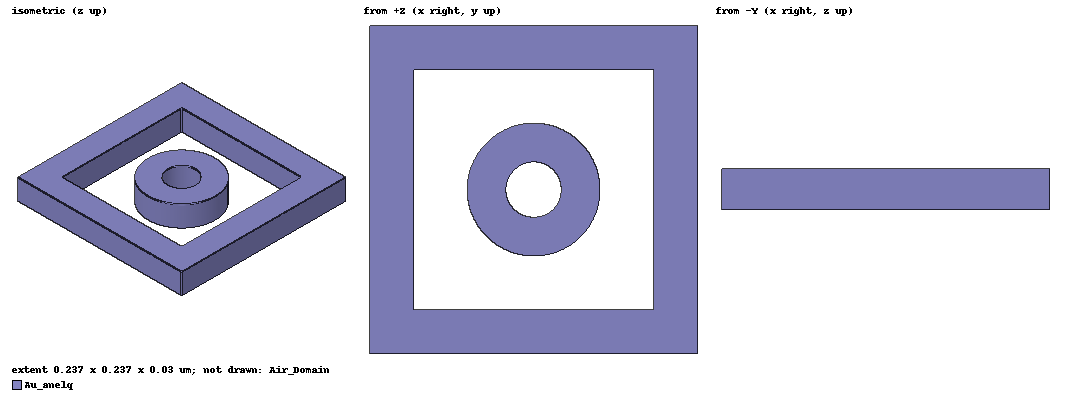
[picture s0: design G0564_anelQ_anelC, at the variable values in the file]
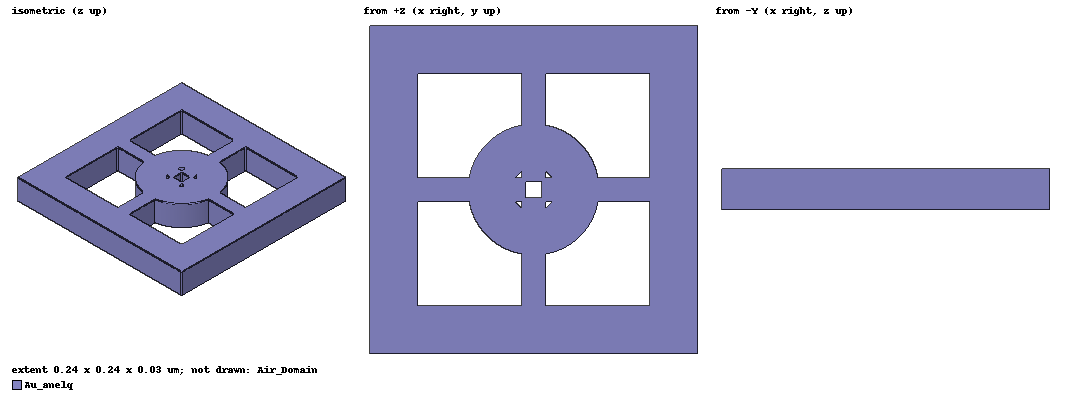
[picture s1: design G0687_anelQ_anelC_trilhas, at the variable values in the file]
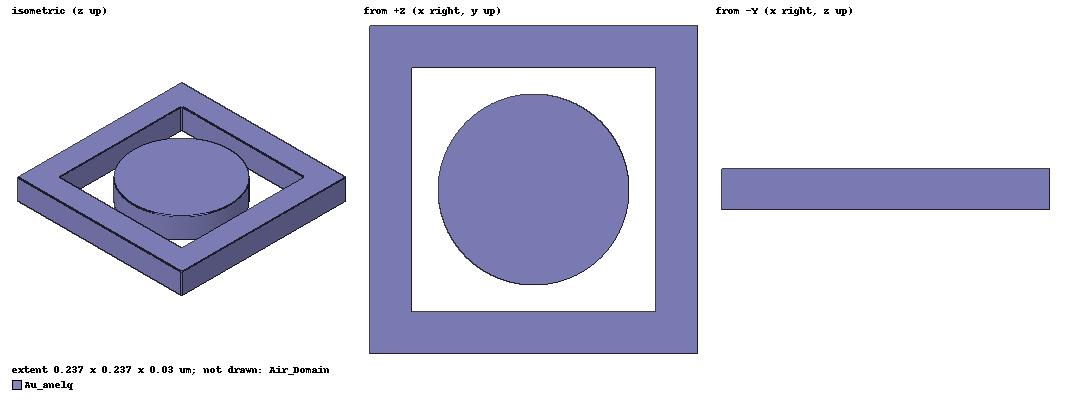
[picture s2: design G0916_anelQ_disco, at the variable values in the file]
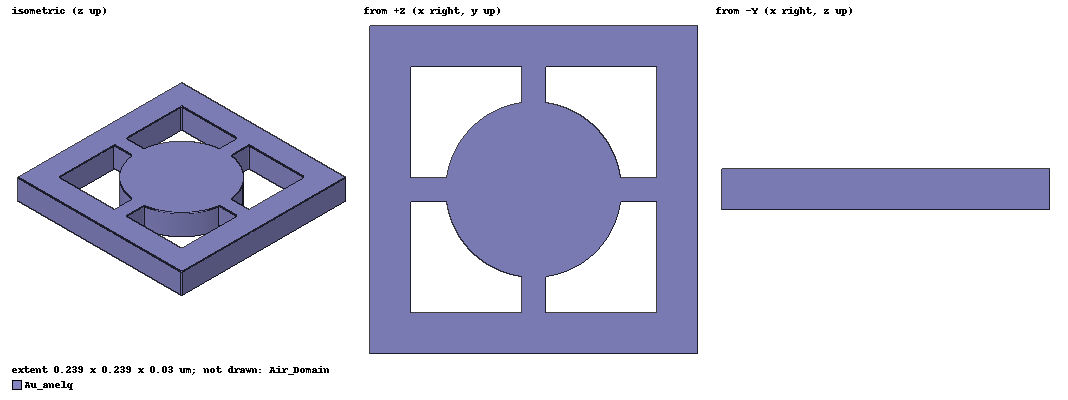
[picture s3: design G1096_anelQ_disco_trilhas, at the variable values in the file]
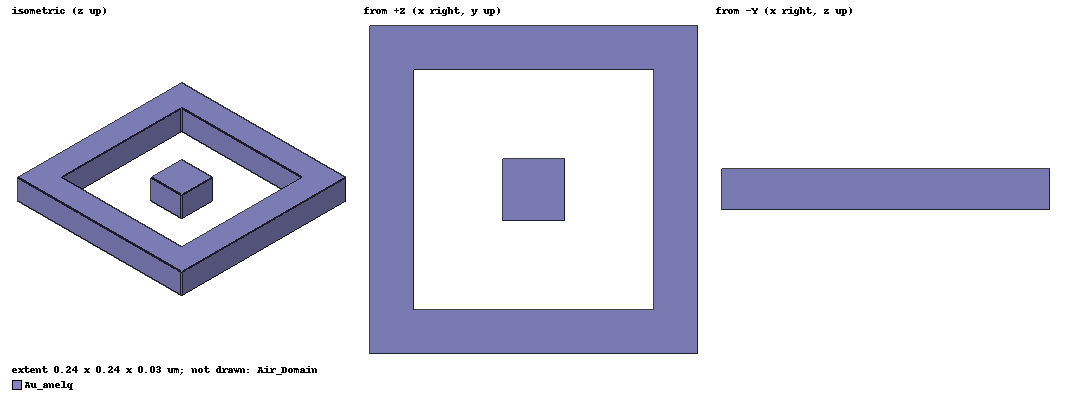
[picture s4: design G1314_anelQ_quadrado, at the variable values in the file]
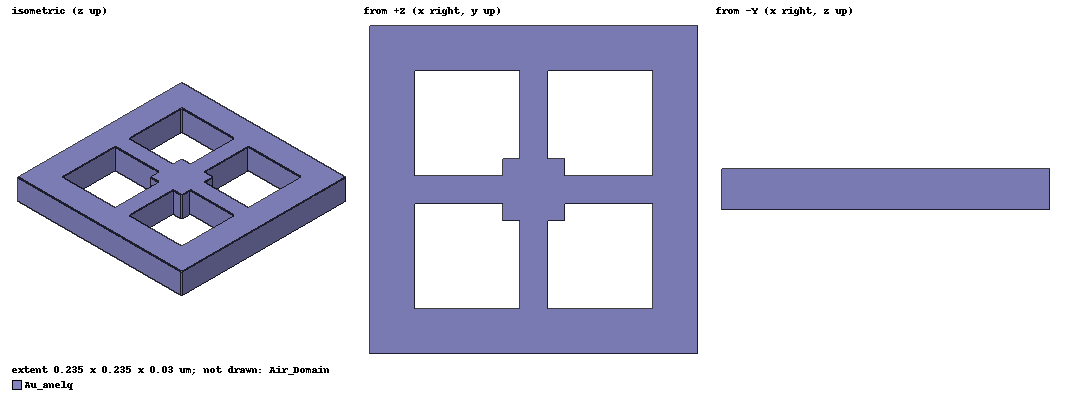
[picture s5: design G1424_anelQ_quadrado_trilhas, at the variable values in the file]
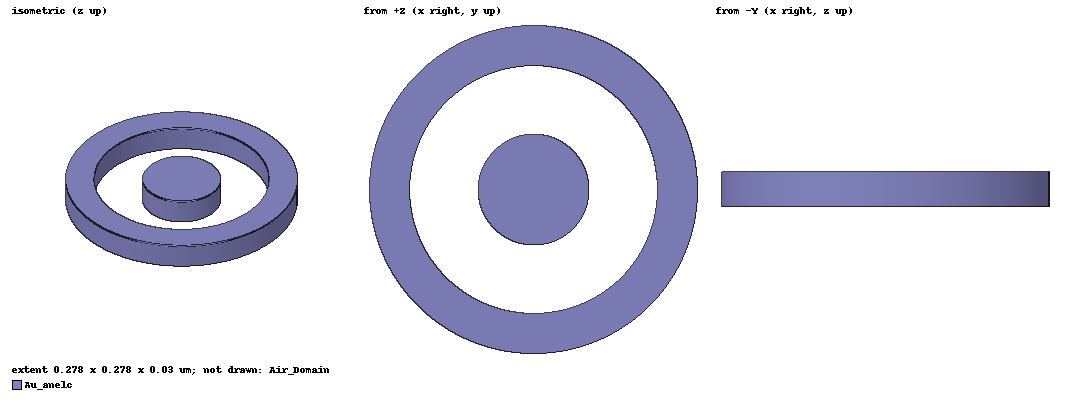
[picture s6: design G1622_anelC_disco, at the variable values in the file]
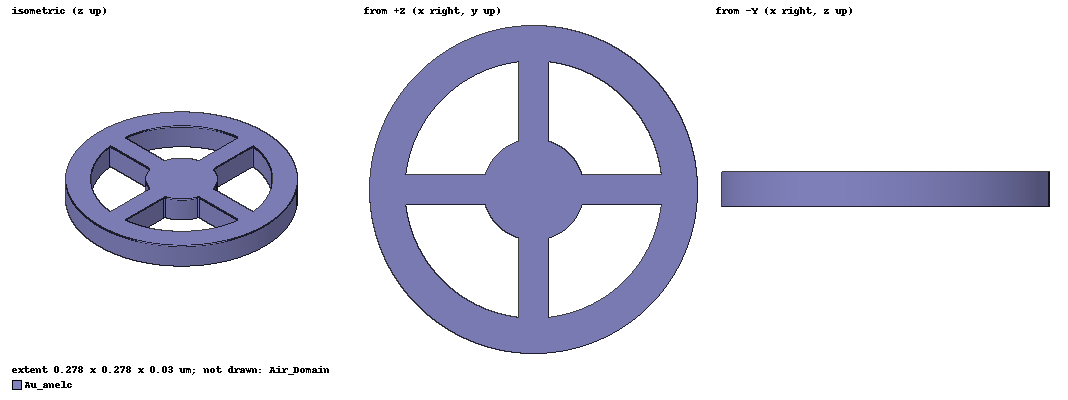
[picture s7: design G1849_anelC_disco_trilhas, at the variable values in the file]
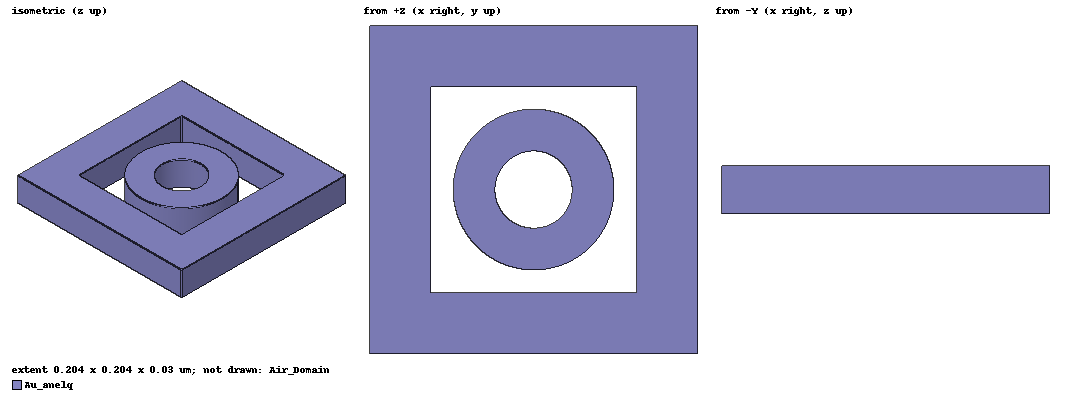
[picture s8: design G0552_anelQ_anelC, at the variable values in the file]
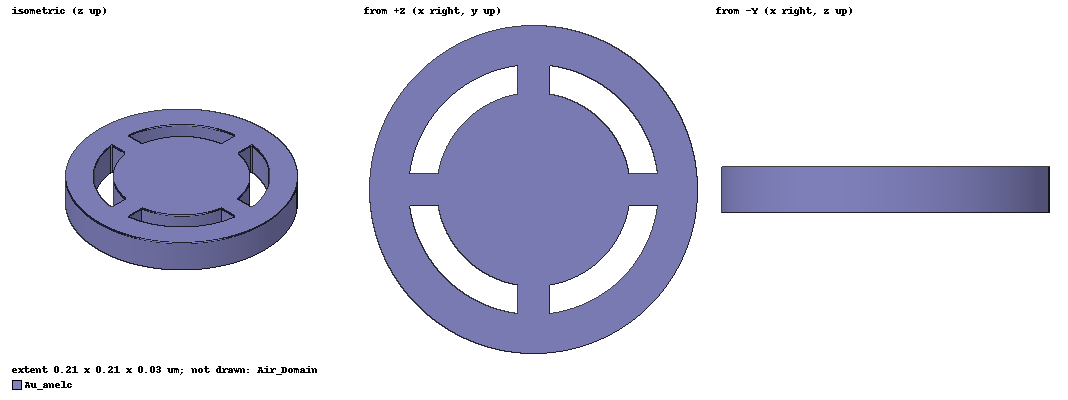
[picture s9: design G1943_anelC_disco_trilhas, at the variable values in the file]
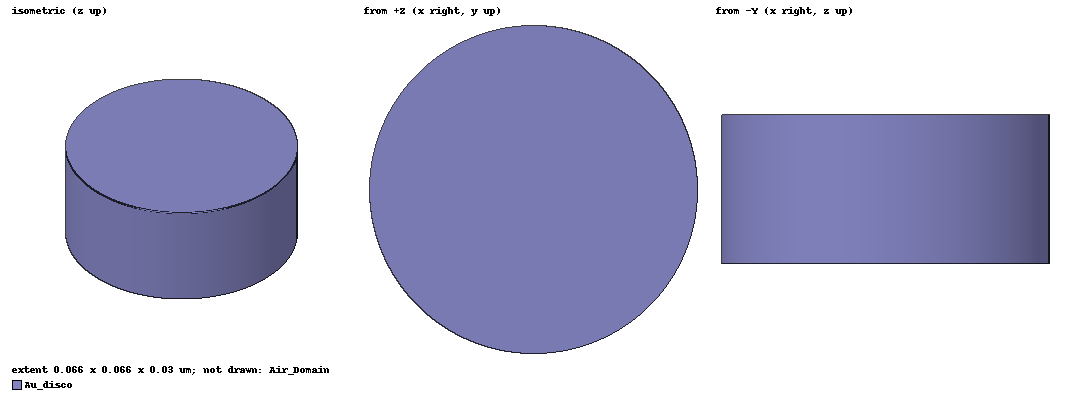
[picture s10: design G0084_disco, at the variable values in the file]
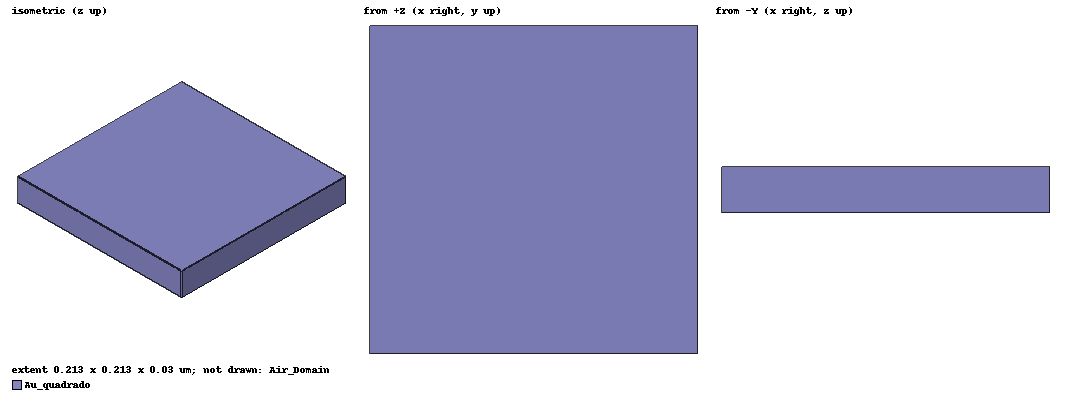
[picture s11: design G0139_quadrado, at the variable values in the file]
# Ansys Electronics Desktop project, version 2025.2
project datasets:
  $eps_Au: (150000000000000, -186.00089) (160000000000000, -163.14213) (170000000000000, -144.11224) (180000000000000, -128.10314) (190000000000000, -114.50826) (200000000000000, -102.86532) (210000000000000, -92.81718) (220000000000000, -84.084412) (230000000000000, -76.445944) (240000000000000, -69.725036) (250000000000000, -63.779041) (260000000000000, -58.491818) (270000000000000, -53.768037) (280000000000000, -49.528859) (290000000000000, -45.70863) (300000000000000, -42.252313) (310000000000000, -39.113494) (320000000000000, -36.252806) (330000000000000, -33.636677) (340000000000000, -31.236338) (350000000000000, -29.027017) (360000000000000, -26.987294) (370000000000000, -25.098569) (380000000000000, -23.344637) (390000000000000, -21.711335) (400000000000000, -20.186253) (410000000000000, -18.7585) (420000000000000, -17.418507) (430000000000000, -16.15788) (440000000000000, -14.969269) (450000000000000, -13.846276) (460000000000000, -12.78338) (470000000000000, -11.775891) (480000000000000, -10.819917) (490000000000000, -9.9123481) (500000000000000, -9.0508547) (510000000000000, -8.2338938) (520000000000000, -7.4607121) (530000000000000, -6.7313416) (540000000000000, -6.0465702) (550000000000000, -5.4078747) (560000000000000, -4.8172964) (570000000000000, -4.2772451) (580000000000000, -3.7902218) (590000000000000, -3.3584655) (600000000000000, -2.9835452) (610000000000000, -2.6659436) (620000000000000, -2.4046951) (630000000000000, -2.197152) (640000000000000, -2.0389375) (650000000000000, -1.9241177) (660000000000000, -1.8455774) (670000000000000, -1.7955412) (680000000000000, -1.7661513) (690000000000000, -1.7500089) (700000000000000, -1.7406041)
  $sig_Au: (150000000000000, 218667.41) (160000000000000, 192168.71) (170000000000000, 170065.67) (180000000000000, 151429.97) (190000000000000, 135565.31) (200000000000000, 121941.52) (210000000000000, 110149.55) (220000000000000, 99870.051) (230000000000000, 90851.031) (240000000000000, 82891.837) (250000000000000, 75831.402) (260000000000000, 69539.575) (270000000000000, 63910.635) (280000000000000, 58858.395) (290000000000000, 54312.48) (300000000000000, 50215.478) (310000000000000, 46520.747) (320000000000000, 43190.739) (330000000000000, 40195.708) (340000000000000, 37512.733) (350000000000000, 35124.989) (360000000000000, 33021.22) (370000000000000, 31195.388) (380000000000000, 29646.453) (390000000000000, 28378.283) (400000000000000, 27399.666) (410000000000000, 26724.406) (420000000000000, 26371.488) (430000000000000, 26365.297) (440000000000000, 26735.841) (450000000000000, 27518.962) (460000000000000, 28756.467) (470000000000000, 30496.106) (480000000000000, 32791.287) (490000000000000, 35700.421) (500000000000000, 39285.697) (510000000000000, 43611.125) (520000000000000, 48739.62) (530000000000000, 54728.934) (540000000000000, 61626.312) (550000000000000, 69461.861) (560000000000000, 78240.9) (570000000000000, 87935.844) (580000000000000, 98478.642) (590000000000000, 109755.15) (600000000000000, 121603.12) (610000000000000, 133815.27) (620000000000000, 146148.59) (630000000000000, 158339.66) (640000000000000, 170124.49) (650000000000000, 181260.31) (660000000000000, 191545.59) (670000000000000, 200835.19) (680000000000000, 209048.35) (690000000000000, 216168.82) (700000000000000, 222238.31)
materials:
  vacuum: permittivity=1
  Au_JC: permittivity="pwl($eps_Au, Freq)" permeability=1 conductivity="pwl($sig_Au, Freq)"
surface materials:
  Steel-oxidised-surface

design G0564_anelQ_anelC (HFSS, HFSS Modal Network, model units um)
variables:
  theta_inc = 0deg
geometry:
  Au_anelq [Au_JC] = box(corner=(-0.1185um, -0.1185um, 0um), size=(0.237um, 0.237um, 0.03um))
  Au_anelq_furo = box(corner=(-0.0865um, -0.0865um, 0um), size=(0.173um, 0.173um, 0.03um))
  Au_anelq.subtract(Au_anelq_furo)
  Au_anelc = cylinder(axis=Z, base_centre=(0um, 0um, 0um), radius=0.048um, height=0.03um)
  Au_anelc_furo = cylinder(axis=Z, base_centre=(0um, 0um, 0um), radius=0.02um, height=0.03um)
  Au_anelc.subtract(Au_anelc_furo)
  Au_anelq.unite(Au_anelc)
  Air_Domain [vacuum] = box(corner=(-0.16um, -0.16um, -1um), size=(0.32um, 0.32um, 2.03um))
  Au_anelq_1 = Au_anelq.copy()
  Air_Domain.subtract(Au_anelq_1)
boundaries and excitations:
  LatticePair_YDZ176: Lattice Pair Faces=Air_Domain.face(-x, +x) CoordSysVector{(-0.16, -0.16, -1) -> (-0.16, -0.16, 1.03)} PhaseDelay=UseScanAngle Phi=0deg Theta=theta_inc
  LatticePair_STE0GC: Lattice Pair Faces=Air_Domain.face(-y, +y) CoordSysVector{(0.16, -0.16, -1) -> (0.16, -0.16, 1.03)} PhaseDelay=UseScanAngle Phi=0deg Theta=theta_inc
  FloquetCima: Floquet Port Faces=Air_Domain.face(+z) NumModes=4 Modes{Mode1{CharImp=Zpi} Mode2{CharImp=Zpi} Mode3{CharImp=Zpi} Mode4{CharImp=Zpi}} PhaseDelay=UseScanAngle Phi=0deg Theta=theta_inc LatticeAVector{(-0.16, -0.16, 1.03) -> (0.16, -0.16, 1.03)} LatticeBVector{(-0.16, -0.16, 1.03) -> (-0.16, 0.16, 1.03)} ModesCalculator{Frequency=1GHz PhiStart=0deg PhiStop=0deg PhiStep=0deg ThetaStart=0deg ThetaStop=0deg ThetaStep=0deg} ModesList{Mode{ModeNumber=1 IndexM=0 IndexN=0 KC2=0 PropagationState=Undefined Attenuation=0 PolarizationState=TE AffectsRefinement} Mode{ModeNumber=2 IndexM=0 IndexN=0 KC2=0 PropagationState=Undefined Attenuation=0 PolarizationState=TM AffectsRefinement} Mode{ModeNumber=3 IndexM=-1 IndexN=0 KC2=385531421917553 PropagationState=Undefined Attenuation=1.7054704e+08 PolarizationState=TE AffectsRefinement} Mode{ModeNumber=4 IndexM=0 IndexN=-1 KC2=385531421917553 PropagationState=Undefined Attenuation=1.7054704e+08 PolarizationState=TE AffectsRefinement}}
  FloquetBaixo: Floquet Port Faces=Air_Domain.face(-z) NumModes=4 Modes{Mode1{CharImp=Zpi} Mode2{CharImp=Zpi} Mode3{CharImp=Zpi} Mode4{CharImp=Zpi}} PhaseDelay=UseScanAngle Phi=0deg Theta=theta_inc LatticeAVector{(-0.16, -0.16, -1) -> (0.16, -0.16, -1)} LatticeBVector{(-0.16, -0.16, -1) -> (-0.16, 0.16, -1)} ModesCalculator{Frequency=1GHz PhiStart=0deg PhiStop=0deg PhiStep=0deg ThetaStart=0deg ThetaStop=0deg ThetaStep=0deg} ModesList{Mode{ModeNumber=1 IndexM=0 IndexN=0 KC2=0 PropagationState=Undefined Attenuation=0 PolarizationState=TE AffectsRefinement} Mode{ModeNumber=2 IndexM=0 IndexN=0 KC2=0 PropagationState=Undefined Attenuation=0 PolarizationState=TM AffectsRefinement} Mode{ModeNumber=3 IndexM=-1 IndexN=0 KC2=385531421917553 PropagationState=Undefined Attenuation=1.7054704e+08 PolarizationState=TE AffectsRefinement} Mode{ModeNumber=4 IndexM=0 IndexN=-1 KC2=385531421917553 PropagationState=Undefined Attenuation=1.7054704e+08 PolarizationState=TE AffectsRefinement}}
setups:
  Setup1: HfssDriven Frequency=666.2THz MaxDeltaS=0.01 MaximumPasses=15 MinimumPasses=1 MinimumConvergedPasses=1 PercentRefinement=30 BasisOrder=1 PortAccuracy=2 DrivenSolverType="Direct Solver"
    sweep Varredura: 187.4THz to 666.2THz, 401 points; Type=Interpolating InterpTolerance=0.5 InterpMaxSolns=250 PassivityErrorTolerance=0.0001
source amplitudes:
  FloquetCima:1: 1W 0deg
  FloquetCima:2, FloquetCima:3, FloquetCima:4, FloquetBaixo:1..FloquetBaixo:4: 0W 0deg

design G0687_anelQ_anelC_trilhas (HFSS, HFSS Modal Network, model units um)
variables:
  theta_inc = 0deg
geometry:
  Au_anelq [Au_JC] = box(corner=(-0.12um, -0.12um, 0um), size=(0.24um, 0.24um, 0.03um))
  Au_anelq_furo = box(corner=(-0.085um, -0.085um, 0um), size=(0.17um, 0.17um, 0.03um))
  Au_anelq.subtract(Au_anelq_furo)
  Au_anelc = cylinder(axis=Z, base_centre=(0um, 0um, 0um), radius=0.048um, height=0.03um)
  Au_anelc_furo = cylinder(axis=Z, base_centre=(0um, 0um, 0um), radius=0.016um, height=0.03um)
  Au_anelc.subtract(Au_anelc_furo)
  Au_trilha0 = box(corner=(0.006um, -0.0085um, 0um), size=(0.0965um, 0.017um, 0.03um))
  Au_trilha1 = box(corner=(-0.1025um, -0.0085um, 0um), size=(0.0965um, 0.017um, 0.03um))
  Au_trilha2 = box(corner=(-0.0085um, 0.006um, 0um), size=(0.017um, 0.0965um, 0.03um))
  Au_trilha3 = box(corner=(-0.0085um, -0.1025um, 0um), size=(0.017um, 0.0965um, 0.03um))
  Au_anelq.unite(Au_anelc, Au_trilha0..Au_trilha3)
  Air_Domain [vacuum] = box(corner=(-0.16um, -0.16um, -1um), size=(0.32um, 0.32um, 2.03um))
  Au_anelq_1 = Au_anelq.copy()
  Air_Domain.subtract(Au_anelq_1)
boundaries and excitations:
  LatticePair_XT0KBJ: Lattice Pair Faces=Air_Domain.face(-x, +x) CoordSysVector{(-0.16, -0.16, -1) -> (-0.16, -0.16, 1.03)} PhaseDelay=UseScanAngle Phi=0deg Theta=theta_inc
  LatticePair_F2OU9O: Lattice Pair Faces=Air_Domain.face(-y, +y) CoordSysVector{(0.16, -0.16, -1) -> (0.16, -0.16, 1.03)} PhaseDelay=UseScanAngle Phi=0deg Theta=theta_inc
  FloquetCima: Floquet Port Faces=Air_Domain.face(+z) NumModes=4 Modes{Mode1{CharImp=Zpi} Mode2{CharImp=Zpi} Mode3{CharImp=Zpi} Mode4{CharImp=Zpi}} PhaseDelay=UseScanAngle Phi=0deg Theta=theta_inc LatticeAVector{(-0.16, -0.16, 1.03) -> (0.16, -0.16, 1.03)} LatticeBVector{(-0.16, -0.16, 1.03) -> (-0.16, 0.16, 1.03)} ModesCalculator{Frequency=1GHz PhiStart=0deg PhiStop=0deg PhiStep=0deg ThetaStart=0deg ThetaStop=0deg ThetaStep=0deg} ModesList{Mode{ModeNumber=1 IndexM=0 IndexN=0 KC2=0 PropagationState=Undefined Attenuation=0 PolarizationState=TE AffectsRefinement} Mode{ModeNumber=2 IndexM=0 IndexN=0 KC2=0 PropagationState=Undefined Attenuation=0 PolarizationState=TM AffectsRefinement} Mode{ModeNumber=3 IndexM=-1 IndexN=0 KC2=385531421917553 PropagationState=Undefined Attenuation=1.7054704e+08 PolarizationState=TE AffectsRefinement} Mode{ModeNumber=4 IndexM=0 IndexN=-1 KC2=385531421917553 PropagationState=Undefined Attenuation=1.7054704e+08 PolarizationState=TE AffectsRefinement}}
  FloquetBaixo: Floquet Port Faces=Air_Domain.face(-z) NumModes=4 Modes{Mode1{CharImp=Zpi} Mode2{CharImp=Zpi} Mode3{CharImp=Zpi} Mode4{CharImp=Zpi}} PhaseDelay=UseScanAngle Phi=0deg Theta=theta_inc LatticeAVector{(-0.16, -0.16, -1) -> (0.16, -0.16, -1)} LatticeBVector{(-0.16, -0.16, -1) -> (-0.16, 0.16, -1)} ModesCalculator{Frequency=1GHz PhiStart=0deg PhiStop=0deg PhiStep=0deg ThetaStart=0deg ThetaStop=0deg ThetaStep=0deg} ModesList{Mode{ModeNumber=1 IndexM=0 IndexN=0 KC2=0 PropagationState=Undefined Attenuation=0 PolarizationState=TE AffectsRefinement} Mode{ModeNumber=2 IndexM=0 IndexN=0 KC2=0 PropagationState=Undefined Attenuation=0 PolarizationState=TM AffectsRefinement} Mode{ModeNumber=3 IndexM=-1 IndexN=0 KC2=385531421917553 PropagationState=Undefined Attenuation=1.7054704e+08 PolarizationState=TE AffectsRefinement} Mode{ModeNumber=4 IndexM=0 IndexN=-1 KC2=385531421917553 PropagationState=Undefined Attenuation=1.7054704e+08 PolarizationState=TE AffectsRefinement}}
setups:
  Setup1: HfssDriven Frequency=666.2THz MaxDeltaS=0.01 MaximumPasses=15 MinimumPasses=1 MinimumConvergedPasses=1 PercentRefinement=30 BasisOrder=1 PortAccuracy=2 DrivenSolverType="Direct Solver"
    sweep Varredura: 187.4THz to 666.2THz, 401 points; Type=Interpolating InterpTolerance=0.5 InterpMaxSolns=250 PassivityErrorTolerance=0.0001
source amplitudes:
  FloquetCima:1: 1W 0deg
  FloquetCima:2, FloquetCima:3, FloquetCima:4, FloquetBaixo:1..FloquetBaixo:4: 0W 0deg

design G0916_anelQ_disco (HFSS, HFSS Modal Network, model units um)
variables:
  theta_inc = 0deg
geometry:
  Au_anelq [Au_JC] = box(corner=(-0.1185um, -0.1185um, 0um), size=(0.237um, 0.237um, 0.03um))
  Au_anelq_furo = box(corner=(-0.0885um, -0.0885um, 0um), size=(0.177um, 0.177um, 0.03um))
  Au_anelq.subtract(Au_anelq_furo)
  Au_disco = cylinder(axis=Z, base_centre=(0um, 0um, 0um), radius=0.069um, height=0.03um)
  Au_anelq.unite(Au_disco)
  Air_Domain [vacuum] = box(corner=(-0.16um, -0.16um, -1um), size=(0.32um, 0.32um, 2.03um))
  Au_anelq_1 = Au_anelq.copy()
  Air_Domain.subtract(Au_anelq_1)
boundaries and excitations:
  LatticePair_64ZAPR: Lattice Pair Faces=Air_Domain.face(-x, +x) CoordSysVector{(-0.16, -0.16, -1) -> (-0.16, -0.16, 1.03)} PhaseDelay=UseScanAngle Phi=0deg Theta=theta_inc
  LatticePair_7NOR57: Lattice Pair Faces=Air_Domain.face(-y, +y) CoordSysVector{(0.16, -0.16, -1) -> (0.16, -0.16, 1.03)} PhaseDelay=UseScanAngle Phi=0deg Theta=theta_inc
  FloquetCima: Floquet Port Faces=Air_Domain.face(+z) NumModes=4 Modes{Mode1{CharImp=Zpi} Mode2{CharImp=Zpi} Mode3{CharImp=Zpi} Mode4{CharImp=Zpi}} PhaseDelay=UseScanAngle Phi=0deg Theta=theta_inc LatticeAVector{(-0.16, -0.16, 1.03) -> (0.16, -0.16, 1.03)} LatticeBVector{(-0.16, -0.16, 1.03) -> (-0.16, 0.16, 1.03)} ModesCalculator{Frequency=1GHz PhiStart=0deg PhiStop=0deg PhiStep=0deg ThetaStart=0deg ThetaStop=0deg ThetaStep=0deg} ModesList{Mode{ModeNumber=1 IndexM=0 IndexN=0 KC2=0 PropagationState=Undefined Attenuation=0 PolarizationState=TE AffectsRefinement} Mode{ModeNumber=2 IndexM=0 IndexN=0 KC2=0 PropagationState=Undefined Attenuation=0 PolarizationState=TM AffectsRefinement} Mode{ModeNumber=3 IndexM=-1 IndexN=0 KC2=385531421917553 PropagationState=Undefined Attenuation=1.7054704e+08 PolarizationState=TE AffectsRefinement} Mode{ModeNumber=4 IndexM=0 IndexN=-1 KC2=385531421917553 PropagationState=Undefined Attenuation=1.7054704e+08 PolarizationState=TE AffectsRefinement}}
  FloquetBaixo: Floquet Port Faces=Air_Domain.face(-z) NumModes=4 Modes{Mode1{CharImp=Zpi} Mode2{CharImp=Zpi} Mode3{CharImp=Zpi} Mode4{CharImp=Zpi}} PhaseDelay=UseScanAngle Phi=0deg Theta=theta_inc LatticeAVector{(-0.16, -0.16, -1) -> (0.16, -0.16, -1)} LatticeBVector{(-0.16, -0.16, -1) -> (-0.16, 0.16, -1)} ModesCalculator{Frequency=1GHz PhiStart=0deg PhiStop=0deg PhiStep=0deg ThetaStart=0deg ThetaStop=0deg ThetaStep=0deg} ModesList{Mode{ModeNumber=1 IndexM=0 IndexN=0 KC2=0 PropagationState=Undefined Attenuation=0 PolarizationState=TE AffectsRefinement} Mode{ModeNumber=2 IndexM=0 IndexN=0 KC2=0 PropagationState=Undefined Attenuation=0 PolarizationState=TM AffectsRefinement} Mode{ModeNumber=3 IndexM=-1 IndexN=0 KC2=385531421917553 PropagationState=Undefined Attenuation=1.7054704e+08 PolarizationState=TE AffectsRefinement} Mode{ModeNumber=4 IndexM=0 IndexN=-1 KC2=385531421917553 PropagationState=Undefined Attenuation=1.7054704e+08 PolarizationState=TE AffectsRefinement}}
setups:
  Setup1: HfssDriven Frequency=666.2THz MaxDeltaS=0.01 MaximumPasses=15 MinimumPasses=1 MinimumConvergedPasses=1 PercentRefinement=30 BasisOrder=1 PortAccuracy=2 DrivenSolverType="Direct Solver"
    sweep Varredura: 187.4THz to 666.2THz, 401 points; Type=Interpolating InterpTolerance=0.5 InterpMaxSolns=250 PassivityErrorTolerance=0.0001
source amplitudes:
  FloquetCima:1: 1W 0deg
  FloquetCima:2, FloquetCima:3, FloquetCima:4, FloquetBaixo:1..FloquetBaixo:4: 0W 0deg

design G1096_anelQ_disco_trilhas (HFSS, HFSS Modal Network, model units um)
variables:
  theta_inc = 0deg
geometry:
  Au_anelq [Au_JC] = box(corner=(-0.1195um, -0.1195um, 0um), size=(0.239um, 0.239um, 0.03um))
  Au_anelq_furo = box(corner=(-0.0895um, -0.0895um, 0um), size=(0.179um, 0.179um, 0.03um))
  Au_anelq.subtract(Au_anelq_furo)
  Au_disco = cylinder(axis=Z, base_centre=(0um, 0um, 0um), radius=0.064um, height=0.03um)
  Au_trilha0 = box(corner=(0.054um, -0.0085um, 0um), size=(0.0505um, 0.017um, 0.03um))
  Au_trilha1 = box(corner=(-0.1045um, -0.0085um, 0um), size=(0.0505um, 0.017um, 0.03um))
  Au_trilha2 = box(corner=(-0.0085um, 0.054um, 0um), size=(0.017um, 0.0505um, 0.03um))
  Au_trilha3 = box(corner=(-0.0085um, -0.1045um, 0um), size=(0.017um, 0.0505um, 0.03um))
  Au_anelq.unite(Au_disco, Au_trilha0..Au_trilha3)
  Air_Domain [vacuum] = box(corner=(-0.16um, -0.16um, -1um), size=(0.32um, 0.32um, 2.03um))
  Au_anelq_1 = Au_anelq.copy()
  Air_Domain.subtract(Au_anelq_1)
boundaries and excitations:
  LatticePair_KRPXPV: Lattice Pair Faces=Air_Domain.face(-x, +x) CoordSysVector{(-0.16, -0.16, -1) -> (-0.16, -0.16, 1.03)} PhaseDelay=UseScanAngle Phi=0deg Theta=theta_inc
  LatticePair_TIOPV3: Lattice Pair Faces=Air_Domain.face(-y, +y) CoordSysVector{(0.16, -0.16, -1) -> (0.16, -0.16, 1.03)} PhaseDelay=UseScanAngle Phi=0deg Theta=theta_inc
  FloquetCima: Floquet Port Faces=Air_Domain.face(+z) NumModes=4 Modes{Mode1{CharImp=Zpi} Mode2{CharImp=Zpi} Mode3{CharImp=Zpi} Mode4{CharImp=Zpi}} PhaseDelay=UseScanAngle Phi=0deg Theta=theta_inc LatticeAVector{(-0.16, -0.16, 1.03) -> (0.16, -0.16, 1.03)} LatticeBVector{(-0.16, -0.16, 1.03) -> (-0.16, 0.16, 1.03)} ModesCalculator{Frequency=1GHz PhiStart=0deg PhiStop=0deg PhiStep=0deg ThetaStart=0deg ThetaStop=0deg ThetaStep=0deg} ModesList{Mode{ModeNumber=1 IndexM=0 IndexN=0 KC2=0 PropagationState=Undefined Attenuation=0 PolarizationState=TE AffectsRefinement} Mode{ModeNumber=2 IndexM=0 IndexN=0 KC2=0 PropagationState=Undefined Attenuation=0 PolarizationState=TM AffectsRefinement} Mode{ModeNumber=3 IndexM=-1 IndexN=0 KC2=385531421917553 PropagationState=Undefined Attenuation=1.7054704e+08 PolarizationState=TE AffectsRefinement} Mode{ModeNumber=4 IndexM=0 IndexN=-1 KC2=385531421917553 PropagationState=Undefined Attenuation=1.7054704e+08 PolarizationState=TE AffectsRefinement}}
  FloquetBaixo: Floquet Port Faces=Air_Domain.face(-z) NumModes=4 Modes{Mode1{CharImp=Zpi} Mode2{CharImp=Zpi} Mode3{CharImp=Zpi} Mode4{CharImp=Zpi}} PhaseDelay=UseScanAngle Phi=0deg Theta=theta_inc LatticeAVector{(-0.16, -0.16, -1) -> (0.16, -0.16, -1)} LatticeBVector{(-0.16, -0.16, -1) -> (-0.16, 0.16, -1)} ModesCalculator{Frequency=1GHz PhiStart=0deg PhiStop=0deg PhiStep=0deg ThetaStart=0deg ThetaStop=0deg ThetaStep=0deg} ModesList{Mode{ModeNumber=1 IndexM=0 IndexN=0 KC2=0 PropagationState=Undefined Attenuation=0 PolarizationState=TE AffectsRefinement} Mode{ModeNumber=2 IndexM=0 IndexN=0 KC2=0 PropagationState=Undefined Attenuation=0 PolarizationState=TM AffectsRefinement} Mode{ModeNumber=3 IndexM=-1 IndexN=0 KC2=385531421917553 PropagationState=Undefined Attenuation=1.7054704e+08 PolarizationState=TE AffectsRefinement} Mode{ModeNumber=4 IndexM=0 IndexN=-1 KC2=385531421917553 PropagationState=Undefined Attenuation=1.7054704e+08 PolarizationState=TE AffectsRefinement}}
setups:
  Setup1: HfssDriven Frequency=666.2THz MaxDeltaS=0.01 MaximumPasses=15 MinimumPasses=1 MinimumConvergedPasses=1 PercentRefinement=30 BasisOrder=1 PortAccuracy=2 DrivenSolverType="Direct Solver"
    sweep Varredura: 187.4THz to 666.2THz, 401 points; Type=Interpolating InterpTolerance=0.5 InterpMaxSolns=250 PassivityErrorTolerance=0.0001
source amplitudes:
  FloquetCima:1: 1W 0deg
  FloquetCima:2, FloquetCima:3, FloquetCima:4, FloquetBaixo:1..FloquetBaixo:4: 0W 0deg

design G1314_anelQ_quadrado (HFSS, HFSS Modal Network, model units um)
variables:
  theta_inc = 0deg
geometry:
  Au_anelq [Au_JC] = box(corner=(-0.12um, -0.12um, 0um), size=(0.24um, 0.24um, 0.03um))
  Au_anelq_furo = box(corner=(-0.088um, -0.088um, 0um), size=(0.176um, 0.176um, 0.03um))
  Au_anelq.subtract(Au_anelq_furo)
  Au_quadrado = box(corner=(-0.0225um, -0.0225um, 0um), size=(0.045um, 0.045um, 0.03um))
  Au_anelq.unite(Au_quadrado)
  Air_Domain [vacuum] = box(corner=(-0.16um, -0.16um, -1um), size=(0.32um, 0.32um, 2.03um))
  Au_anelq_1 = Au_anelq.copy()
  Air_Domain.subtract(Au_anelq_1)
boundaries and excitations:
  LatticePair_2VA69D: Lattice Pair Faces=Air_Domain.face(-x, +x) CoordSysVector{(-0.16, -0.16, -1) -> (-0.16, -0.16, 1.03)} PhaseDelay=UseScanAngle Phi=0deg Theta=theta_inc
  LatticePair_CVMYU2: Lattice Pair Faces=Air_Domain.face(-y, +y) CoordSysVector{(0.16, -0.16, -1) -> (0.16, -0.16, 1.03)} PhaseDelay=UseScanAngle Phi=0deg Theta=theta_inc
  FloquetCima: Floquet Port Faces=Air_Domain.face(+z) NumModes=4 Modes{Mode1{CharImp=Zpi} Mode2{CharImp=Zpi} Mode3{CharImp=Zpi} Mode4{CharImp=Zpi}} PhaseDelay=UseScanAngle Phi=0deg Theta=theta_inc LatticeAVector{(-0.16, -0.16, 1.03) -> (0.16, -0.16, 1.03)} LatticeBVector{(-0.16, -0.16, 1.03) -> (-0.16, 0.16, 1.03)} ModesCalculator{Frequency=1GHz PhiStart=0deg PhiStop=0deg PhiStep=0deg ThetaStart=0deg ThetaStop=0deg ThetaStep=0deg} ModesList{Mode{ModeNumber=1 IndexM=0 IndexN=0 KC2=0 PropagationState=Undefined Attenuation=0 PolarizationState=TE AffectsRefinement} Mode{ModeNumber=2 IndexM=0 IndexN=0 KC2=0 PropagationState=Undefined Attenuation=0 PolarizationState=TM AffectsRefinement} Mode{ModeNumber=3 IndexM=-1 IndexN=0 KC2=385531421917553 PropagationState=Undefined Attenuation=1.7054704e+08 PolarizationState=TE AffectsRefinement} Mode{ModeNumber=4 IndexM=0 IndexN=-1 KC2=385531421917553 PropagationState=Undefined Attenuation=1.7054704e+08 PolarizationState=TE AffectsRefinement}}
  FloquetBaixo: Floquet Port Faces=Air_Domain.face(-z) NumModes=4 Modes{Mode1{CharImp=Zpi} Mode2{CharImp=Zpi} Mode3{CharImp=Zpi} Mode4{CharImp=Zpi}} PhaseDelay=UseScanAngle Phi=0deg Theta=theta_inc LatticeAVector{(-0.16, -0.16, -1) -> (0.16, -0.16, -1)} LatticeBVector{(-0.16, -0.16, -1) -> (-0.16, 0.16, -1)} ModesCalculator{Frequency=1GHz PhiStart=0deg PhiStop=0deg PhiStep=0deg ThetaStart=0deg ThetaStop=0deg ThetaStep=0deg} ModesList{Mode{ModeNumber=1 IndexM=0 IndexN=0 KC2=0 PropagationState=Undefined Attenuation=0 PolarizationState=TE AffectsRefinement} Mode{ModeNumber=2 IndexM=0 IndexN=0 KC2=0 PropagationState=Undefined Attenuation=0 PolarizationState=TM AffectsRefinement} Mode{ModeNumber=3 IndexM=-1 IndexN=0 KC2=385531421917553 PropagationState=Undefined Attenuation=1.7054704e+08 PolarizationState=TE AffectsRefinement} Mode{ModeNumber=4 IndexM=0 IndexN=-1 KC2=385531421917553 PropagationState=Undefined Attenuation=1.7054704e+08 PolarizationState=TE AffectsRefinement}}
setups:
  Setup1: HfssDriven Frequency=666.2THz MaxDeltaS=0.01 MaximumPasses=15 MinimumPasses=1 MinimumConvergedPasses=1 PercentRefinement=30 BasisOrder=1 PortAccuracy=2 DrivenSolverType="Direct Solver"
    sweep Varredura: 187.4THz to 666.2THz, 401 points; Type=Interpolating InterpTolerance=0.5 InterpMaxSolns=250 PassivityErrorTolerance=0.0001
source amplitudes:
  FloquetCima:1: 1W 0deg
  FloquetCima:2, FloquetCima:3, FloquetCima:4, FloquetBaixo:1..FloquetBaixo:4: 0W 0deg

design G1424_anelQ_quadrado_trilhas (HFSS, HFSS Modal Network, model units um)
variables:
  theta_inc = 0deg
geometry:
  Au_anelq [Au_JC] = box(corner=(-0.1175um, -0.1175um, 0um), size=(0.235um, 0.235um, 0.03um))
  Au_anelq_furo = box(corner=(-0.0855um, -0.0855um, 0um), size=(0.171um, 0.171um, 0.03um))
  Au_anelq.subtract(Au_anelq_furo)
  Au_quadrado = box(corner=(-0.0225um, -0.0225um, 0um), size=(0.045um, 0.045um, 0.03um))
  Au_trilha0 = box(corner=(0.0125um, -0.01um, 0um), size=(0.089um, 0.02um, 0.03um))
  Au_trilha1 = box(corner=(-0.1015um, -0.01um, 0um), size=(0.089um, 0.02um, 0.03um))
  Au_trilha2 = box(corner=(-0.01um, 0.0125um, 0um), size=(0.02um, 0.089um, 0.03um))
  Au_trilha3 = box(corner=(-0.01um, -0.1015um, 0um), size=(0.02um, 0.089um, 0.03um))
  Au_anelq.unite(Au_quadrado, Au_trilha0..Au_trilha3)
  Air_Domain [vacuum] = box(corner=(-0.16um, -0.16um, -1um), size=(0.32um, 0.32um, 2.03um))
  Au_anelq_1 = Au_anelq.copy()
  Air_Domain.subtract(Au_anelq_1)
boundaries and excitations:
  LatticePair_7EIDCZ: Lattice Pair Faces=Air_Domain.face(-x, +x) CoordSysVector{(-0.16, -0.16, -1) -> (-0.16, -0.16, 1.03)} PhaseDelay=UseScanAngle Phi=0deg Theta=theta_inc
  LatticePair_31F60X: Lattice Pair Faces=Air_Domain.face(-y, +y) CoordSysVector{(0.16, -0.16, -1) -> (0.16, -0.16, 1.03)} PhaseDelay=UseScanAngle Phi=0deg Theta=theta_inc
  FloquetCima: Floquet Port Faces=Air_Domain.face(+z) NumModes=4 Modes{Mode1{CharImp=Zpi} Mode2{CharImp=Zpi} Mode3{CharImp=Zpi} Mode4{CharImp=Zpi}} PhaseDelay=UseScanAngle Phi=0deg Theta=theta_inc LatticeAVector{(-0.16, -0.16, 1.03) -> (0.16, -0.16, 1.03)} LatticeBVector{(-0.16, -0.16, 1.03) -> (-0.16, 0.16, 1.03)} ModesCalculator{Frequency=1GHz PhiStart=0deg PhiStop=0deg PhiStep=0deg ThetaStart=0deg ThetaStop=0deg ThetaStep=0deg} ModesList{Mode{ModeNumber=1 IndexM=0 IndexN=0 KC2=0 PropagationState=Undefined Attenuation=0 PolarizationState=TE AffectsRefinement} Mode{ModeNumber=2 IndexM=0 IndexN=0 KC2=0 PropagationState=Undefined Attenuation=0 PolarizationState=TM AffectsRefinement} Mode{ModeNumber=3 IndexM=-1 IndexN=0 KC2=385531421917553 PropagationState=Undefined Attenuation=1.7054704e+08 PolarizationState=TE AffectsRefinement} Mode{ModeNumber=4 IndexM=0 IndexN=-1 KC2=385531421917553 PropagationState=Undefined Attenuation=1.7054704e+08 PolarizationState=TE AffectsRefinement}}
  FloquetBaixo: Floquet Port Faces=Air_Domain.face(-z) NumModes=4 Modes{Mode1{CharImp=Zpi} Mode2{CharImp=Zpi} Mode3{CharImp=Zpi} Mode4{CharImp=Zpi}} PhaseDelay=UseScanAngle Phi=0deg Theta=theta_inc LatticeAVector{(-0.16, -0.16, -1) -> (0.16, -0.16, -1)} LatticeBVector{(-0.16, -0.16, -1) -> (-0.16, 0.16, -1)} ModesCalculator{Frequency=1GHz PhiStart=0deg PhiStop=0deg PhiStep=0deg ThetaStart=0deg ThetaStop=0deg ThetaStep=0deg} ModesList{Mode{ModeNumber=1 IndexM=0 IndexN=0 KC2=0 PropagationState=Undefined Attenuation=0 PolarizationState=TE AffectsRefinement} Mode{ModeNumber=2 IndexM=0 IndexN=0 KC2=0 PropagationState=Undefined Attenuation=0 PolarizationState=TM AffectsRefinement} Mode{ModeNumber=3 IndexM=-1 IndexN=0 KC2=385531421917553 PropagationState=Undefined Attenuation=1.7054704e+08 PolarizationState=TE AffectsRefinement} Mode{ModeNumber=4 IndexM=0 IndexN=-1 KC2=385531421917553 PropagationState=Undefined Attenuation=1.7054704e+08 PolarizationState=TE AffectsRefinement}}
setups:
  Setup1: HfssDriven Frequency=666.2THz MaxDeltaS=0.01 MaximumPasses=15 MinimumPasses=1 MinimumConvergedPasses=1 PercentRefinement=30 BasisOrder=1 PortAccuracy=2 DrivenSolverType="Direct Solver"
    sweep Varredura: 187.4THz to 666.2THz, 401 points; Type=Interpolating InterpTolerance=0.5 InterpMaxSolns=250 PassivityErrorTolerance=0.0001
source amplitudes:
  FloquetCima:1: 1W 0deg
  FloquetCima:2, FloquetCima:3, FloquetCima:4, FloquetBaixo:1..FloquetBaixo:4: 0W 0deg

design G1622_anelC_disco (HFSS, HFSS Modal Network, model units um)
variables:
  theta_inc = 0deg
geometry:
  Au_anelc [Au_JC] = cylinder(axis=Z, base_centre=(0um, 0um, 0um), radius=0.139um, height=0.03um)
  Au_anelc_furo = cylinder(axis=Z, base_centre=(0um, 0um, 0um), radius=0.105um, height=0.03um)
  Au_anelc.subtract(Au_anelc_furo)
  Au_disco = cylinder(axis=Z, base_centre=(0um, 0um, 0um), radius=0.047um, height=0.03um)
  Au_anelc.unite(Au_disco)
  Air_Domain [vacuum] = box(corner=(-0.16um, -0.16um, -1um), size=(0.32um, 0.32um, 2.03um))
  Au_anelc_1 = Au_anelc.copy()
  Air_Domain.subtract(Au_anelc_1)
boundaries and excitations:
  LatticePair_EMIJM2: Lattice Pair Faces=Air_Domain.face(-x, +x) CoordSysVector{(-0.16, -0.16, -1) -> (-0.16, -0.16, 1.03)} PhaseDelay=UseScanAngle Phi=0deg Theta=theta_inc
  LatticePair_1F0ON8: Lattice Pair Faces=Air_Domain.face(-y, +y) CoordSysVector{(0.16, -0.16, -1) -> (0.16, -0.16, 1.03)} PhaseDelay=UseScanAngle Phi=0deg Theta=theta_inc
  FloquetCima: Floquet Port Faces=Air_Domain.face(+z) NumModes=4 Modes{Mode1{CharImp=Zpi} Mode2{CharImp=Zpi} Mode3{CharImp=Zpi} Mode4{CharImp=Zpi}} PhaseDelay=UseScanAngle Phi=0deg Theta=theta_inc LatticeAVector{(-0.16, -0.16, 1.03) -> (0.16, -0.16, 1.03)} LatticeBVector{(-0.16, -0.16, 1.03) -> (-0.16, 0.16, 1.03)} ModesCalculator{Frequency=1GHz PhiStart=0deg PhiStop=0deg PhiStep=0deg ThetaStart=0deg ThetaStop=0deg ThetaStep=0deg} ModesList{Mode{ModeNumber=1 IndexM=0 IndexN=0 KC2=0 PropagationState=Undefined Attenuation=0 PolarizationState=TE AffectsRefinement} Mode{ModeNumber=2 IndexM=0 IndexN=0 KC2=0 PropagationState=Undefined Attenuation=0 PolarizationState=TM AffectsRefinement} Mode{ModeNumber=3 IndexM=-1 IndexN=0 KC2=385531421917553 PropagationState=Undefined Attenuation=1.7054704e+08 PolarizationState=TE AffectsRefinement} Mode{ModeNumber=4 IndexM=0 IndexN=-1 KC2=385531421917553 PropagationState=Undefined Attenuation=1.7054704e+08 PolarizationState=TE AffectsRefinement}}
  FloquetBaixo: Floquet Port Faces=Air_Domain.face(-z) NumModes=4 Modes{Mode1{CharImp=Zpi} Mode2{CharImp=Zpi} Mode3{CharImp=Zpi} Mode4{CharImp=Zpi}} PhaseDelay=UseScanAngle Phi=0deg Theta=theta_inc LatticeAVector{(-0.16, -0.16, -1) -> (0.16, -0.16, -1)} LatticeBVector{(-0.16, -0.16, -1) -> (-0.16, 0.16, -1)} ModesCalculator{Frequency=1GHz PhiStart=0deg PhiStop=0deg PhiStep=0deg ThetaStart=0deg ThetaStop=0deg ThetaStep=0deg} ModesList{Mode{ModeNumber=1 IndexM=0 IndexN=0 KC2=0 PropagationState=Undefined Attenuation=0 PolarizationState=TE AffectsRefinement} Mode{ModeNumber=2 IndexM=0 IndexN=0 KC2=0 PropagationState=Undefined Attenuation=0 PolarizationState=TM AffectsRefinement} Mode{ModeNumber=3 IndexM=-1 IndexN=0 KC2=385531421917553 PropagationState=Undefined Attenuation=1.7054704e+08 PolarizationState=TE AffectsRefinement} Mode{ModeNumber=4 IndexM=0 IndexN=-1 KC2=385531421917553 PropagationState=Undefined Attenuation=1.7054704e+08 PolarizationState=TE AffectsRefinement}}
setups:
  Setup1: HfssDriven Frequency=666.2THz MaxDeltaS=0.01 MaximumPasses=15 MinimumPasses=1 MinimumConvergedPasses=1 PercentRefinement=30 BasisOrder=1 PortAccuracy=2 DrivenSolverType="Direct Solver"
    sweep Varredura: 187.4THz to 666.2THz, 401 points; Type=Interpolating InterpTolerance=0.5 InterpMaxSolns=250 PassivityErrorTolerance=0.0001
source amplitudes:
  FloquetCima:1: 1W 0deg
  FloquetCima:2, FloquetCima:3, FloquetCima:4, FloquetBaixo:1..FloquetBaixo:4: 0W 0deg

design G1849_anelC_disco_trilhas (HFSS, HFSS Modal Network, model units um)
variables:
  theta_inc = 0deg
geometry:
  Au_anelc [Au_JC] = cylinder(axis=Z, base_centre=(0um, 0um, 0um), radius=0.139um, height=0.03um)
  Au_anelc_furo = cylinder(axis=Z, base_centre=(0um, 0um, 0um), radius=0.109um, height=0.03um)
  Au_anelc.subtract(Au_anelc_furo)
  Au_disco = cylinder(axis=Z, base_centre=(0um, 0um, 0um), radius=0.043um, height=0.03um)
  Au_trilha0 = box(corner=(0.033um, -0.0125um, 0um), size=(0.091um, 0.025um, 0.03um))
  Au_trilha1 = box(corner=(-0.124um, -0.0125um, 0um), size=(0.091um, 0.025um, 0.03um))
  Au_trilha2 = box(corner=(-0.0125um, 0.033um, 0um), size=(0.025um, 0.091um, 0.03um))
  Au_trilha3 = box(corner=(-0.0125um, -0.124um, 0um), size=(0.025um, 0.091um, 0.03um))
  Au_anelc.unite(Au_disco, Au_trilha0..Au_trilha3)
  Air_Domain [vacuum] = box(corner=(-0.16um, -0.16um, -1um), size=(0.32um, 0.32um, 2.03um))
  Au_anelc_1 = Au_anelc.copy()
  Air_Domain.subtract(Au_anelc_1)
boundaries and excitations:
  LatticePair_75F3JX: Lattice Pair Faces=Air_Domain.face(-x, +x) CoordSysVector{(-0.16, -0.16, -1) -> (-0.16, -0.16, 1.03)} PhaseDelay=UseScanAngle Phi=0deg Theta=theta_inc
  LatticePair_QLDQN0: Lattice Pair Faces=Air_Domain.face(-y, +y) CoordSysVector{(0.16, -0.16, -1) -> (0.16, -0.16, 1.03)} PhaseDelay=UseScanAngle Phi=0deg Theta=theta_inc
  FloquetCima: Floquet Port Faces=Air_Domain.face(+z) NumModes=4 Modes{Mode1{CharImp=Zpi} Mode2{CharImp=Zpi} Mode3{CharImp=Zpi} Mode4{CharImp=Zpi}} PhaseDelay=UseScanAngle Phi=0deg Theta=theta_inc LatticeAVector{(-0.16, -0.16, 1.03) -> (0.16, -0.16, 1.03)} LatticeBVector{(-0.16, -0.16, 1.03) -> (-0.16, 0.16, 1.03)} ModesCalculator{Frequency=1GHz PhiStart=0deg PhiStop=0deg PhiStep=0deg ThetaStart=0deg ThetaStop=0deg ThetaStep=0deg} ModesList{Mode{ModeNumber=1 IndexM=0 IndexN=0 KC2=0 PropagationState=Undefined Attenuation=0 PolarizationState=TE AffectsRefinement} Mode{ModeNumber=2 IndexM=0 IndexN=0 KC2=0 PropagationState=Undefined Attenuation=0 PolarizationState=TM AffectsRefinement} Mode{ModeNumber=3 IndexM=-1 IndexN=0 KC2=385531421917553 PropagationState=Undefined Attenuation=1.7054704e+08 PolarizationState=TE AffectsRefinement} Mode{ModeNumber=4 IndexM=0 IndexN=-1 KC2=385531421917553 PropagationState=Undefined Attenuation=1.7054704e+08 PolarizationState=TE AffectsRefinement}}
  FloquetBaixo: Floquet Port Faces=Air_Domain.face(-z) NumModes=4 Modes{Mode1{CharImp=Zpi} Mode2{CharImp=Zpi} Mode3{CharImp=Zpi} Mode4{CharImp=Zpi}} PhaseDelay=UseScanAngle Phi=0deg Theta=theta_inc LatticeAVector{(-0.16, -0.16, -1) -> (0.16, -0.16, -1)} LatticeBVector{(-0.16, -0.16, -1) -> (-0.16, 0.16, -1)} ModesCalculator{Frequency=1GHz PhiStart=0deg PhiStop=0deg PhiStep=0deg ThetaStart=0deg ThetaStop=0deg ThetaStep=0deg} ModesList{Mode{ModeNumber=1 IndexM=0 IndexN=0 KC2=0 PropagationState=Undefined Attenuation=0 PolarizationState=TE AffectsRefinement} Mode{ModeNumber=2 IndexM=0 IndexN=0 KC2=0 PropagationState=Undefined Attenuation=0 PolarizationState=TM AffectsRefinement} Mode{ModeNumber=3 IndexM=-1 IndexN=0 KC2=385531421917553 PropagationState=Undefined Attenuation=1.7054704e+08 PolarizationState=TE AffectsRefinement} Mode{ModeNumber=4 IndexM=0 IndexN=-1 KC2=385531421917553 PropagationState=Undefined Attenuation=1.7054704e+08 PolarizationState=TE AffectsRefinement}}
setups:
  Setup1: HfssDriven Frequency=666.2THz MaxDeltaS=0.01 MaximumPasses=15 MinimumPasses=1 MinimumConvergedPasses=1 PercentRefinement=30 BasisOrder=1 PortAccuracy=2 DrivenSolverType="Direct Solver"
    sweep Varredura: 187.4THz to 666.2THz, 401 points; Type=Interpolating InterpTolerance=0.5 InterpMaxSolns=250 PassivityErrorTolerance=0.0001
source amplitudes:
  FloquetCima:1: 1W 0deg
  FloquetCima:2, FloquetCima:3, FloquetCima:4, FloquetBaixo:1..FloquetBaixo:4: 0W 0deg

design G0552_anelQ_anelC (HFSS, HFSS Modal Network, model units um)
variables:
  theta_inc = 0deg
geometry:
  Au_anelq [Au_JC] = box(corner=(-0.102um, -0.102um, 0um), size=(0.204um, 0.204um, 0.03um))
  Au_anelq_furo = box(corner=(-0.064um, -0.064um, 0um), size=(0.128um, 0.128um, 0.03um))
  Au_anelq.subtract(Au_anelq_furo)
  Au_anelc = cylinder(axis=Z, base_centre=(0um, 0um, 0um), radius=0.05um, height=0.03um)
  Au_anelc_furo = cylinder(axis=Z, base_centre=(0um, 0um, 0um), radius=0.024um, height=0.03um)
  Au_anelc.subtract(Au_anelc_furo)
  Au_anelq.unite(Au_anelc)
  Air_Domain [vacuum] = box(corner=(-0.16um, -0.16um, -1um), size=(0.32um, 0.32um, 2.03um))
  Au_anelq_1 = Au_anelq.copy()
  Air_Domain.subtract(Au_anelq_1)
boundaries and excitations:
  LatticePair_ASGDZZ: Lattice Pair Faces=Air_Domain.face(-x, +x) CoordSysVector{(-0.16, -0.16, -1) -> (-0.16, -0.16, 1.03)} PhaseDelay=UseScanAngle Phi=0deg Theta=theta_inc
  LatticePair_5JYFPD: Lattice Pair Faces=Air_Domain.face(-y, +y) CoordSysVector{(0.16, -0.16, -1) -> (0.16, -0.16, 1.03)} PhaseDelay=UseScanAngle Phi=0deg Theta=theta_inc
  FloquetCima: Floquet Port Faces=Air_Domain.face(+z) NumModes=4 Modes{Mode1{CharImp=Zpi} Mode2{CharImp=Zpi} Mode3{CharImp=Zpi} Mode4{CharImp=Zpi}} PhaseDelay=UseScanAngle Phi=0deg Theta=theta_inc LatticeAVector{(-0.16, -0.16, 1.03) -> (0.16, -0.16, 1.03)} LatticeBVector{(-0.16, -0.16, 1.03) -> (-0.16, 0.16, 1.03)} ModesCalculator{Frequency=1GHz PhiStart=0deg PhiStop=0deg PhiStep=0deg ThetaStart=0deg ThetaStop=0deg ThetaStep=0deg} ModesList{Mode{ModeNumber=1 IndexM=0 IndexN=0 KC2=0 PropagationState=Undefined Attenuation=0 PolarizationState=TE AffectsRefinement} Mode{ModeNumber=2 IndexM=0 IndexN=0 KC2=0 PropagationState=Undefined Attenuation=0 PolarizationState=TM AffectsRefinement} Mode{ModeNumber=3 IndexM=-1 IndexN=0 KC2=385531421917553 PropagationState=Undefined Attenuation=1.7054704e+08 PolarizationState=TE AffectsRefinement} Mode{ModeNumber=4 IndexM=0 IndexN=-1 KC2=385531421917553 PropagationState=Undefined Attenuation=1.7054704e+08 PolarizationState=TE AffectsRefinement}}
  FloquetBaixo: Floquet Port Faces=Air_Domain.face(-z) NumModes=4 Modes{Mode1{CharImp=Zpi} Mode2{CharImp=Zpi} Mode3{CharImp=Zpi} Mode4{CharImp=Zpi}} PhaseDelay=UseScanAngle Phi=0deg Theta=theta_inc LatticeAVector{(-0.16, -0.16, -1) -> (0.16, -0.16, -1)} LatticeBVector{(-0.16, -0.16, -1) -> (-0.16, 0.16, -1)} ModesCalculator{Frequency=1GHz PhiStart=0deg PhiStop=0deg PhiStep=0deg ThetaStart=0deg ThetaStop=0deg ThetaStep=0deg} ModesList{Mode{ModeNumber=1 IndexM=0 IndexN=0 KC2=0 PropagationState=Undefined Attenuation=0 PolarizationState=TE AffectsRefinement} Mode{ModeNumber=2 IndexM=0 IndexN=0 KC2=0 PropagationState=Undefined Attenuation=0 PolarizationState=TM AffectsRefinement} Mode{ModeNumber=3 IndexM=-1 IndexN=0 KC2=385531421917553 PropagationState=Undefined Attenuation=1.7054704e+08 PolarizationState=TE AffectsRefinement} Mode{ModeNumber=4 IndexM=0 IndexN=-1 KC2=385531421917553 PropagationState=Undefined Attenuation=1.7054704e+08 PolarizationState=TE AffectsRefinement}}
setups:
  Setup1: HfssDriven Frequency=666.2THz MaxDeltaS=0.01 MaximumPasses=15 MinimumPasses=1 MinimumConvergedPasses=1 PercentRefinement=30 BasisOrder=1 PortAccuracy=2 DrivenSolverType="Direct Solver"
    sweep Varredura: 187.4THz to 666.2THz, 401 points; Type=Interpolating InterpTolerance=0.5 InterpMaxSolns=250 PassivityErrorTolerance=0.0001
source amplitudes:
  FloquetCima:1: 1W 0deg
  FloquetCima:2, FloquetCima:3, FloquetCima:4, FloquetBaixo:1..FloquetBaixo:4: 0W 0deg

design G1943_anelC_disco_trilhas (HFSS, HFSS Modal Network, model units um)
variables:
  theta_inc = 0deg
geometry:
  Au_anelc [Au_JC] = cylinder(axis=Z, base_centre=(0um, 0um, 0um), radius=0.105um, height=0.03um)
  Au_anelc_furo = cylinder(axis=Z, base_centre=(0um, 0um, 0um), radius=0.08um, height=0.03um)
  Au_anelc.subtract(Au_anelc_furo)
  Au_disco = cylinder(axis=Z, base_centre=(0um, 0um, 0um), radius=0.062um, height=0.03um)
  Au_trilha0 = box(corner=(0.052um, -0.0105um, 0um), size=(0.0405um, 0.021um, 0.03um))
  Au_trilha1 = box(corner=(-0.0925um, -0.0105um, 0um), size=(0.0405um, 0.021um, 0.03um))
  Au_trilha2 = box(corner=(-0.0105um, 0.052um, 0um), size=(0.021um, 0.0405um, 0.03um))
  Au_trilha3 = box(corner=(-0.0105um, -0.0925um, 0um), size=(0.021um, 0.0405um, 0.03um))
  Au_anelc.unite(Au_disco, Au_trilha0..Au_trilha3)
  Air_Domain [vacuum] = box(corner=(-0.16um, -0.16um, -1um), size=(0.32um, 0.32um, 2.03um))
  Au_anelc_1 = Au_anelc.copy()
  Air_Domain.subtract(Au_anelc_1)
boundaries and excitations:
  LatticePair_73N7PR: Lattice Pair Faces=Air_Domain.face(-x, +x) CoordSysVector{(-0.16, -0.16, -1) -> (-0.16, -0.16, 1.03)} PhaseDelay=UseScanAngle Phi=0deg Theta=theta_inc
  LatticePair_0EQLCQ: Lattice Pair Faces=Air_Domain.face(-y, +y) CoordSysVector{(0.16, -0.16, -1) -> (0.16, -0.16, 1.03)} PhaseDelay=UseScanAngle Phi=0deg Theta=theta_inc
  FloquetCima: Floquet Port Faces=Air_Domain.face(+z) NumModes=4 Modes{Mode1{CharImp=Zpi} Mode2{CharImp=Zpi} Mode3{CharImp=Zpi} Mode4{CharImp=Zpi}} PhaseDelay=UseScanAngle Phi=0deg Theta=theta_inc LatticeAVector{(-0.16, -0.16, 1.03) -> (0.16, -0.16, 1.03)} LatticeBVector{(-0.16, -0.16, 1.03) -> (-0.16, 0.16, 1.03)} ModesCalculator{Frequency=1GHz PhiStart=0deg PhiStop=0deg PhiStep=0deg ThetaStart=0deg ThetaStop=0deg ThetaStep=0deg} ModesList{Mode{ModeNumber=1 IndexM=0 IndexN=0 KC2=0 PropagationState=Undefined Attenuation=0 PolarizationState=TE AffectsRefinement} Mode{ModeNumber=2 IndexM=0 IndexN=0 KC2=0 PropagationState=Undefined Attenuation=0 PolarizationState=TM AffectsRefinement} Mode{ModeNumber=3 IndexM=-1 IndexN=0 KC2=385531421917553 PropagationState=Undefined Attenuation=1.7054704e+08 PolarizationState=TE AffectsRefinement} Mode{ModeNumber=4 IndexM=0 IndexN=-1 KC2=385531421917553 PropagationState=Undefined Attenuation=1.7054704e+08 PolarizationState=TE AffectsRefinement}}
  FloquetBaixo: Floquet Port Faces=Air_Domain.face(-z) NumModes=4 Modes{Mode1{CharImp=Zpi} Mode2{CharImp=Zpi} Mode3{CharImp=Zpi} Mode4{CharImp=Zpi}} PhaseDelay=UseScanAngle Phi=0deg Theta=theta_inc LatticeAVector{(-0.16, -0.16, -1) -> (0.16, -0.16, -1)} LatticeBVector{(-0.16, -0.16, -1) -> (-0.16, 0.16, -1)} ModesCalculator{Frequency=1GHz PhiStart=0deg PhiStop=0deg PhiStep=0deg ThetaStart=0deg ThetaStop=0deg ThetaStep=0deg} ModesList{Mode{ModeNumber=1 IndexM=0 IndexN=0 KC2=0 PropagationState=Undefined Attenuation=0 PolarizationState=TE AffectsRefinement} Mode{ModeNumber=2 IndexM=0 IndexN=0 KC2=0 PropagationState=Undefined Attenuation=0 PolarizationState=TM AffectsRefinement} Mode{ModeNumber=3 IndexM=-1 IndexN=0 KC2=385531421917553 PropagationState=Undefined Attenuation=1.7054704e+08 PolarizationState=TE AffectsRefinement} Mode{ModeNumber=4 IndexM=0 IndexN=-1 KC2=385531421917553 PropagationState=Undefined Attenuation=1.7054704e+08 PolarizationState=TE AffectsRefinement}}
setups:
  Setup1: HfssDriven Frequency=666.2THz MaxDeltaS=0.01 MaximumPasses=15 MinimumPasses=1 MinimumConvergedPasses=1 PercentRefinement=30 BasisOrder=1 PortAccuracy=2 DrivenSolverType="Direct Solver"
    sweep Varredura: 187.4THz to 666.2THz, 401 points; Type=Interpolating InterpTolerance=0.5 InterpMaxSolns=250 PassivityErrorTolerance=0.0001
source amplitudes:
  FloquetCima:1: 1W 0deg
  FloquetCima:2, FloquetCima:3, FloquetCima:4, FloquetBaixo:1..FloquetBaixo:4: 0W 0deg

design G0084_disco (HFSS, HFSS Modal Network, model units um)
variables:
  theta_inc = 0deg
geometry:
  Au_disco [Au_JC] = cylinder(axis=Z, base_centre=(0um, 0um, 0um), radius=0.033um, height=0.03um)
  Air_Domain [vacuum] = box(corner=(-0.16um, -0.16um, -1um), size=(0.32um, 0.32um, 2.03um))
  Au_disco_1 = Au_disco.copy()
  Air_Domain.subtract(Au_disco_1)
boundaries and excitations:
  LatticePair_HNYFG4: Lattice Pair Faces=Air_Domain.face(-x, +x) CoordSysVector{(-0.16, -0.16, -1) -> (-0.16, -0.16, 1.03)} PhaseDelay=UseScanAngle Phi=0deg Theta=theta_inc
  LatticePair_CVAXJH: Lattice Pair Faces=Air_Domain.face(-y, +y) CoordSysVector{(0.16, -0.16, -1) -> (0.16, -0.16, 1.03)} PhaseDelay=UseScanAngle Phi=0deg Theta=theta_inc
  FloquetCima: Floquet Port Faces=Air_Domain.face(+z) NumModes=4 Modes{Mode1{CharImp=Zpi} Mode2{CharImp=Zpi} Mode3{CharImp=Zpi} Mode4{CharImp=Zpi}} PhaseDelay=UseScanAngle Phi=0deg Theta=theta_inc LatticeAVector{(-0.16, -0.16, 1.03) -> (0.16, -0.16, 1.03)} LatticeBVector{(-0.16, -0.16, 1.03) -> (-0.16, 0.16, 1.03)} ModesCalculator{Frequency=1GHz PhiStart=0deg PhiStop=0deg PhiStep=0deg ThetaStart=0deg ThetaStop=0deg ThetaStep=0deg} ModesList{Mode{ModeNumber=1 IndexM=0 IndexN=0 KC2=0 PropagationState=Undefined Attenuation=0 PolarizationState=TE AffectsRefinement} Mode{ModeNumber=2 IndexM=0 IndexN=0 KC2=0 PropagationState=Undefined Attenuation=0 PolarizationState=TM AffectsRefinement} Mode{ModeNumber=3 IndexM=-1 IndexN=0 KC2=385531421917553 PropagationState=Undefined Attenuation=1.7054704e+08 PolarizationState=TE AffectsRefinement} Mode{ModeNumber=4 IndexM=0 IndexN=-1 KC2=385531421917553 PropagationState=Undefined Attenuation=1.7054704e+08 PolarizationState=TE AffectsRefinement}}
  FloquetBaixo: Floquet Port Faces=Air_Domain.face(-z) NumModes=4 Modes{Mode1{CharImp=Zpi} Mode2{CharImp=Zpi} Mode3{CharImp=Zpi} Mode4{CharImp=Zpi}} PhaseDelay=UseScanAngle Phi=0deg Theta=theta_inc LatticeAVector{(-0.16, -0.16, -1) -> (0.16, -0.16, -1)} LatticeBVector{(-0.16, -0.16, -1) -> (-0.16, 0.16, -1)} ModesCalculator{Frequency=1GHz PhiStart=0deg PhiStop=0deg PhiStep=0deg ThetaStart=0deg ThetaStop=0deg ThetaStep=0deg} ModesList{Mode{ModeNumber=1 IndexM=0 IndexN=0 KC2=0 PropagationState=Undefined Attenuation=0 PolarizationState=TE AffectsRefinement} Mode{ModeNumber=2 IndexM=0 IndexN=0 KC2=0 PropagationState=Undefined Attenuation=0 PolarizationState=TM AffectsRefinement} Mode{ModeNumber=3 IndexM=-1 IndexN=0 KC2=385531421917553 PropagationState=Undefined Attenuation=1.7054704e+08 PolarizationState=TE AffectsRefinement} Mode{ModeNumber=4 IndexM=0 IndexN=-1 KC2=385531421917553 PropagationState=Undefined Attenuation=1.7054704e+08 PolarizationState=TE AffectsRefinement}}
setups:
  Setup1: HfssDriven Frequency=666.2THz MaxDeltaS=0.01 MaximumPasses=15 MinimumPasses=1 MinimumConvergedPasses=1 PercentRefinement=30 BasisOrder=1 PortAccuracy=2 DrivenSolverType="Direct Solver"
    sweep Varredura: 187.4THz to 666.2THz, 401 points; Type=Interpolating InterpTolerance=0.5 InterpMaxSolns=250 PassivityErrorTolerance=0.0001
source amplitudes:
  FloquetCima:1: 1W 0deg
  FloquetCima:2, FloquetCima:3, FloquetCima:4, FloquetBaixo:1..FloquetBaixo:4: 0W 0deg

design G0139_quadrado (HFSS, HFSS Modal Network, model units um)
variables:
  theta_inc = 0deg
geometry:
  Au_quadrado [Au_JC] = box(corner=(-0.1065um, -0.1065um, 0um), size=(0.213um, 0.213um, 0.03um))
  Air_Domain [vacuum] = box(corner=(-0.16um, -0.16um, -1um), size=(0.32um, 0.32um, 2.03um))
  Au_quadrado_1 = Au_quadrado.copy()
  Air_Domain.subtract(Au_quadrado_1)
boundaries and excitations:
  LatticePair_QUS7K4: Lattice Pair Faces=Air_Domain.face(-x, +x) CoordSysVector{(-0.16, -0.16, -1) -> (-0.16, -0.16, 1.03)} PhaseDelay=UseScanAngle Phi=0deg Theta=theta_inc
  LatticePair_7MWM0Q: Lattice Pair Faces=Air_Domain.face(-y, +y) CoordSysVector{(0.16, -0.16, -1) -> (0.16, -0.16, 1.03)} PhaseDelay=UseScanAngle Phi=0deg Theta=theta_inc
  FloquetCima: Floquet Port Faces=Air_Domain.face(+z) NumModes=4 Modes{Mode1{CharImp=Zpi} Mode2{CharImp=Zpi} Mode3{CharImp=Zpi} Mode4{CharImp=Zpi}} PhaseDelay=UseScanAngle Phi=0deg Theta=theta_inc LatticeAVector{(-0.16, -0.16, 1.03) -> (0.16, -0.16, 1.03)} LatticeBVector{(-0.16, -0.16, 1.03) -> (-0.16, 0.16, 1.03)} ModesCalculator{Frequency=1GHz PhiStart=0deg PhiStop=0deg PhiStep=0deg ThetaStart=0deg ThetaStop=0deg ThetaStep=0deg} ModesList{Mode{ModeNumber=1 IndexM=0 IndexN=0 KC2=0 PropagationState=Undefined Attenuation=0 PolarizationState=TE AffectsRefinement} Mode{ModeNumber=2 IndexM=0 IndexN=0 KC2=0 PropagationState=Undefined Attenuation=0 PolarizationState=TM AffectsRefinement} Mode{ModeNumber=3 IndexM=-1 IndexN=0 KC2=385531421917553 PropagationState=Undefined Attenuation=1.7054704e+08 PolarizationState=TE AffectsRefinement} Mode{ModeNumber=4 IndexM=0 IndexN=-1 KC2=385531421917553 PropagationState=Undefined Attenuation=1.7054704e+08 PolarizationState=TE AffectsRefinement}}
  FloquetBaixo: Floquet Port Faces=Air_Domain.face(-z) NumModes=4 Modes{Mode1{CharImp=Zpi} Mode2{CharImp=Zpi} Mode3{CharImp=Zpi} Mode4{CharImp=Zpi}} PhaseDelay=UseScanAngle Phi=0deg Theta=theta_inc LatticeAVector{(-0.16, -0.16, -1) -> (0.16, -0.16, -1)} LatticeBVector{(-0.16, -0.16, -1) -> (-0.16, 0.16, -1)} ModesCalculator{Frequency=1GHz PhiStart=0deg PhiStop=0deg PhiStep=0deg ThetaStart=0deg ThetaStop=0deg ThetaStep=0deg} ModesList{Mode{ModeNumber=1 IndexM=0 IndexN=0 KC2=0 PropagationState=Undefined Attenuation=0 PolarizationState=TE AffectsRefinement} Mode{ModeNumber=2 IndexM=0 IndexN=0 KC2=0 PropagationState=Undefined Attenuation=0 PolarizationState=TM AffectsRefinement} Mode{ModeNumber=3 IndexM=-1 IndexN=0 KC2=385531421917553 PropagationState=Undefined Attenuation=1.7054704e+08 PolarizationState=TE AffectsRefinement} Mode{ModeNumber=4 IndexM=0 IndexN=-1 KC2=385531421917553 PropagationState=Undefined Attenuation=1.7054704e+08 PolarizationState=TE AffectsRefinement}}
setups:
  Setup1: HfssDriven Frequency=666.2THz MaxDeltaS=0.01 MaximumPasses=15 MinimumPasses=1 MinimumConvergedPasses=1 PercentRefinement=30 BasisOrder=1 PortAccuracy=2 DrivenSolverType="Direct Solver"
    sweep Varredura: 187.4THz to 666.2THz, 401 points; Type=Interpolating InterpTolerance=0.5 InterpMaxSolns=250 PassivityErrorTolerance=0.0001
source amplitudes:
  FloquetCima:1: 1W 0deg
  FloquetCima:2, FloquetCima:3, FloquetCima:4, FloquetBaixo:1..FloquetBaixo:4: 0W 0deg

design G0298_anelC (HFSS, HFSS Modal Network, model units um)
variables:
  theta_inc = 0deg
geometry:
  Au_anelc [Au_JC] = cylinder(axis=Z, base_centre=(0um, 0um, 0um), radius=0.041um, height=0.03um)
  Au_anelc_furo = cylinder(axis=Z, base_centre=(0um, 0um, 0um), radius=0.019um, height=0.03um)
  Au_anelc.subtract(Au_anelc_furo)
  Air_Domain [vacuum] = box(corner=(-0.16um, -0.16um, -1um), size=(0.32um, 0.32um, 2.03um))
  Au_anelc_1 = Au_anelc.copy()
  Air_Domain.subtract(Au_anelc_1)
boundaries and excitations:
  LatticePair_Y1Z75Z: Lattice Pair Faces=Air_Domain.face(-x, +x) CoordSysVector{(-0.16, -0.16, -1) -> (-0.16, -0.16, 1.03)} PhaseDelay=UseScanAngle Phi=0deg Theta=theta_inc
  LatticePair_97NH2A: Lattice Pair Faces=Air_Domain.face(-y, +y) CoordSysVector{(0.16, -0.16, -1) -> (0.16, -0.16, 1.03)} PhaseDelay=UseScanAngle Phi=0deg Theta=theta_inc
  FloquetCima: Floquet Port Faces=Air_Domain.face(+z) NumModes=4 Modes{Mode1{CharImp=Zpi} Mode2{CharImp=Zpi} Mode3{CharImp=Zpi} Mode4{CharImp=Zpi}} PhaseDelay=UseScanAngle Phi=0deg Theta=theta_inc LatticeAVector{(-0.16, -0.16, 1.03) -> (0.16, -0.16, 1.03)} LatticeBVector{(-0.16, -0.16, 1.03) -> (-0.16, 0.16, 1.03)} ModesCalculator{Frequency=1GHz PhiStart=0deg PhiStop=0deg PhiStep=0deg ThetaStart=0deg ThetaStop=0deg ThetaStep=0deg} ModesList{Mode{ModeNumber=1 IndexM=0 IndexN=0 KC2=0 PropagationState=Undefined Attenuation=0 PolarizationState=TE AffectsRefinement} Mode{ModeNumber=2 IndexM=0 IndexN=0 KC2=0 PropagationState=Undefined Attenuation=0 PolarizationState=TM AffectsRefinement} Mode{ModeNumber=3 IndexM=-1 IndexN=0 KC2=385531421917553 PropagationState=Undefined Attenuation=1.7054704e+08 PolarizationState=TE AffectsRefinement} Mode{ModeNumber=4 IndexM=0 IndexN=-1 KC2=385531421917553 PropagationState=Undefined Attenuation=1.7054704e+08 PolarizationState=TE AffectsRefinement}}
  FloquetBaixo: Floquet Port Faces=Air_Domain.face(-z) NumModes=4 Modes{Mode1{CharImp=Zpi} Mode2{CharImp=Zpi} Mode3{CharImp=Zpi} Mode4{CharImp=Zpi}} PhaseDelay=UseScanAngle Phi=0deg Theta=theta_inc LatticeAVector{(-0.16, -0.16, -1) -> (0.16, -0.16, -1)} LatticeBVector{(-0.16, -0.16, -1) -> (-0.16, 0.16, -1)} ModesCalculator{Frequency=1GHz PhiStart=0deg PhiStop=0deg PhiStep=0deg ThetaStart=0deg ThetaStop=0deg ThetaStep=0deg} ModesList{Mode{ModeNumber=1 IndexM=0 IndexN=0 KC2=0 PropagationState=Undefined Attenuation=0 PolarizationState=TE AffectsRefinement} Mode{ModeNumber=2 IndexM=0 IndexN=0 KC2=0 PropagationState=Undefined Attenuation=0 PolarizationState=TM AffectsRefinement} Mode{ModeNumber=3 IndexM=-1 IndexN=0 KC2=385531421917553 PropagationState=Undefined Attenuation=1.7054704e+08 PolarizationState=TE AffectsRefinement} Mode{ModeNumber=4 IndexM=0 IndexN=-1 KC2=385531421917553 PropagationState=Undefined Attenuation=1.7054704e+08 PolarizationState=TE AffectsRefinement}}
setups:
  Setup1: HfssDriven Frequency=666.2THz MaxDeltaS=0.01 MaximumPasses=15 MinimumPasses=1 MinimumConvergedPasses=1 PercentRefinement=30 BasisOrder=1 PortAccuracy=2 DrivenSolverType="Direct Solver"
    sweep Varredura: 187.4THz to 666.2THz, 401 points; Type=Interpolating InterpTolerance=0.5 InterpMaxSolns=250 PassivityErrorTolerance=0.0001
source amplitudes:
  FloquetCima:1: 1W 0deg
  FloquetCima:2, FloquetCima:3, FloquetCima:4, FloquetBaixo:1..FloquetBaixo:4: 0W 0deg

design G0319_anelQ (HFSS, HFSS Modal Network, model units um)
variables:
  theta_inc = 0deg
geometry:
  Au_anelq [Au_JC] = box(corner=(-0.0945um, -0.0945um, 0um), size=(0.189um, 0.189um, 0.03um))
  Au_anelq_furo = box(corner=(-0.0655um, -0.0655um, 0um), size=(0.131um, 0.131um, 0.03um))
  Au_anelq.subtract(Au_anelq_furo)
  Air_Domain [vacuum] = box(corner=(-0.16um, -0.16um, -1um), size=(0.32um, 0.32um, 2.03um))
  Au_anelq_1 = Au_anelq.copy()
  Air_Domain.subtract(Au_anelq_1)
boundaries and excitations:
  LatticePair_JYRURN: Lattice Pair Faces=Air_Domain.face(-x, +x) CoordSysVector{(-0.16, -0.16, -1) -> (-0.16, -0.16, 1.03)} PhaseDelay=UseScanAngle Phi=0deg Theta=theta_inc
  LatticePair_0LS8VK: Lattice Pair Faces=Air_Domain.face(-y, +y) CoordSysVector{(0.16, -0.16, -1) -> (0.16, -0.16, 1.03)} PhaseDelay=UseScanAngle Phi=0deg Theta=theta_inc
  FloquetCima: Floquet Port Faces=Air_Domain.face(+z) NumModes=4 Modes{Mode1{CharImp=Zpi} Mode2{CharImp=Zpi} Mode3{CharImp=Zpi} Mode4{CharImp=Zpi}} PhaseDelay=UseScanAngle Phi=0deg Theta=theta_inc LatticeAVector{(-0.16, -0.16, 1.03) -> (0.16, -0.16, 1.03)} LatticeBVector{(-0.16, -0.16, 1.03) -> (-0.16, 0.16, 1.03)} ModesCalculator{Frequency=1GHz PhiStart=0deg PhiStop=0deg PhiStep=0deg ThetaStart=0deg ThetaStop=0deg ThetaStep=0deg} ModesList{Mode{ModeNumber=1 IndexM=0 IndexN=0 KC2=0 PropagationState=Undefined Attenuation=0 PolarizationState=TE AffectsRefinement} Mode{ModeNumber=2 IndexM=0 IndexN=0 KC2=0 PropagationState=Undefined Attenuation=0 PolarizationState=TM AffectsRefinement} Mode{ModeNumber=3 IndexM=-1 IndexN=0 KC2=385531421917553 PropagationState=Undefined Attenuation=1.7054704e+08 PolarizationState=TE AffectsRefinement} Mode{ModeNumber=4 IndexM=0 IndexN=-1 KC2=385531421917553 PropagationState=Undefined Attenuation=1.7054704e+08 PolarizationState=TE AffectsRefinement}}
  FloquetBaixo: Floquet Port Faces=Air_Domain.face(-z) NumModes=4 Modes{Mode1{CharImp=Zpi} Mode2{CharImp=Zpi} Mode3{CharImp=Zpi} Mode4{CharImp=Zpi}} PhaseDelay=UseScanAngle Phi=0deg Theta=theta_inc LatticeAVector{(-0.16, -0.16, -1) -> (0.16, -0.16, -1)} LatticeBVector{(-0.16, -0.16, -1) -> (-0.16, 0.16, -1)} ModesCalculator{Frequency=1GHz PhiStart=0deg PhiStop=0deg PhiStep=0deg ThetaStart=0deg ThetaStop=0deg ThetaStep=0deg} ModesList{Mode{ModeNumber=1 IndexM=0 IndexN=0 KC2=0 PropagationState=Undefined Attenuation=0 PolarizationState=TE AffectsRefinement} Mode{ModeNumber=2 IndexM=0 IndexN=0 KC2=0 PropagationState=Undefined Attenuation=0 PolarizationState=TM AffectsRefinement} Mode{ModeNumber=3 IndexM=-1 IndexN=0 KC2=385531421917553 PropagationState=Undefined Attenuation=1.7054704e+08 PolarizationState=TE AffectsRefinement} Mode{ModeNumber=4 IndexM=0 IndexN=-1 KC2=385531421917553 PropagationState=Undefined Attenuation=1.7054704e+08 PolarizationState=TE AffectsRefinement}}
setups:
  Setup1: HfssDriven Frequency=666.2THz MaxDeltaS=0.01 MaximumPasses=15 MinimumPasses=1 MinimumConvergedPasses=1 PercentRefinement=30 BasisOrder=1 PortAccuracy=2 DrivenSolverType="Direct Solver"
    sweep Varredura: 187.4THz to 666.2THz, 401 points; Type=Interpolating InterpTolerance=0.5 InterpMaxSolns=250 PassivityErrorTolerance=0.0001
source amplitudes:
  FloquetCima:1: 1W 0deg
  FloquetCima:2, FloquetCima:3, FloquetCima:4, FloquetBaixo:1..FloquetBaixo:4: 0W 0deg
